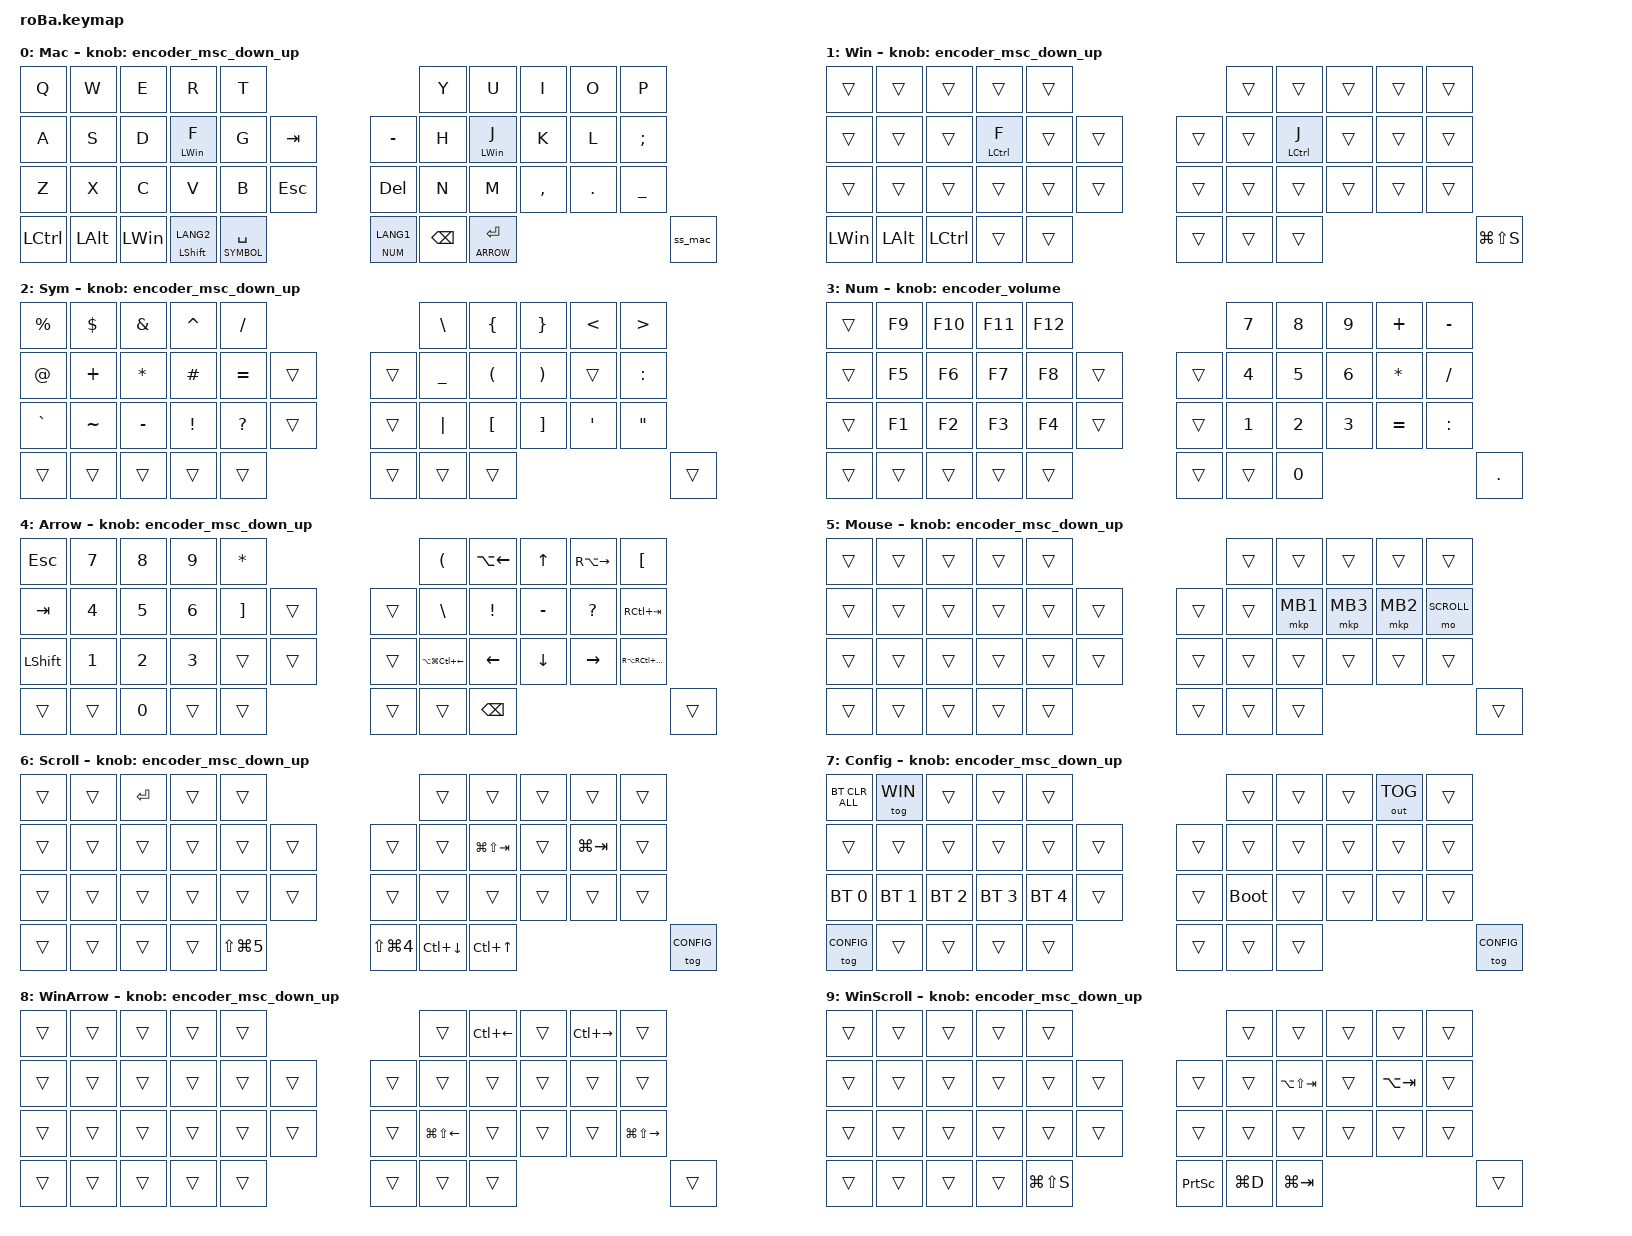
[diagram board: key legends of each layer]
#include <behaviors.dtsi>
#include <dt-bindings/zmk/bt.h>
#include <dt-bindings/zmk/keys.h>
#include <dt-bindings/zmk/outputs.h>
#include <dt-bindings/zmk/pointing.h>
#include <input/processors.dtsi>

#define ZMK_POINTING_DEFAULT_SCRL_VAL 80

/* レイヤー番号（keymap 内の並び順と一致させること） */
#define BASE       0
#define WIN        1   /* Windows 用の差し替え層（CONFIG の W でトグル）。SYMBOL/NUM/ARROW より下に置く（F/J 位置の記号・数字を食わないため） */
#define SYMBOL     2
#define NUM        3
#define ARROW      4
#define MOUSE      5   /* ボールを動かすと自動で入る（AML）。WIN より上（J のクリックが Ctrl/J に負けないため） */
#define SCROLL     6
#define CONFIG     7
#define WIN_ARROW  8   /* WIN + ARROW のとき自動で重なる（conditional layer） */
#define WIN_SCROLL 9   /* WIN + SCROLL のとき自動で重なる */

&mt {
    flavor = "balanced";
    quick-tap-ms = <300>;
};

&lt {
    flavor = "balanced";
    quick-tap-ms = <300>;
};

/* ボールを動かすと MOUSE 層へ（クリックするまで留まる）。roBa_R.overlay は層番号 4 を直書きしており
 * v5 では 4 = ARROW になるため、ここで定義名 MOUSE に上書きする（2026-10-27） */
&trackball_listener {
    input-processors = <&zip_temp_layer MOUSE 100000>;
};

/* ボールをスクロールに切り替える層。roBa_R.overlay は scroll-layers = <5> と直書きしており
 * v5 では 5 = MOUSE になる（ボールを動かすとスクロールしてしまう）ため、定義名 SCROLL に上書きする（2026-10-27） */
&trackball {
    scroll-layers = <SCROLL>;
};

/* クリック後250msでAML解除（マウスキーを押すまでレイヤーに留まる挙動） */
&mkp_input_listener {
    input-processors = <&zip_temp_layer MOUSE 250>;
};

/ {
    combos {
        compatible = "zmk,combos";
    };

    /* WIN 層が有効なときだけ、OS で送るキーが変わる層を重ねる */
    conditional_layers {
        compatible = "zmk,conditional-layers";

        win_arrow {
            if-layers = <ARROW WIN>;
            then-layer = <WIN_ARROW>;
        };

        win_scroll {
            if-layers = <SCROLL WIN>;
            then-layer = <WIN_SCROLL>;
        };
    };

    behaviors {
        /* エンコーダ: 既定は縦スクロール（時計回り=下） */
        encoder_msc_down_up: encoder_msc_down_up {
            compatible = "zmk,behavior-sensor-rotate";
            label = "ENCODER_MSC_DOWN_UP";
            #sensor-binding-cells = <0>;
            bindings = <&msc SCRL_DOWN>, <&msc SCRL_UP>;
            tap-ms = <20>;
        };

        /* エンコーダ: NUM 層では音量（時計回り=上げる） */
        encoder_volume: encoder_volume {
            compatible = "zmk,behavior-sensor-rotate";
            label = "ENCODER_VOLUME";
            #sensor-binding-cells = <0>;
            bindings = <&kp C_VOL_UP>, <&kp C_VOL_DN>;
        };

        /* レイヤーをオフにするbehavior */
        tog_off: toggle_layer_off {
            compatible = "zmk,behavior-toggle-layer";
            #binding-cells = <1>;
            display-name = "Toggle Layer Off";
            toggle-mode = "off";
        };

        /* タップ時のみAML解除するmt（Shift/Winなどのモディファイア用） */
        mt_exit_AML_on_tap: mt_exit_AML_on_tap {
            compatible = "zmk,behavior-hold-tap";
            label = "MT_EXIT_AML_ON_TAP";
            bindings = <&kp>, <&kp_exit_AML>;
            #binding-cells = <2>;
            tapping-term-ms = <200>;
            flavor = "balanced";
            quick-tap-ms = <300>;
        };

        /* タップ時のみAML解除するlt（Space/LANG1などのレイヤータップ用） */
        lt_exit_AML_on_tap: lt_exit_AML_on_tap {
            compatible = "zmk,behavior-hold-tap";
            label = "LT_EXIT_AML_ON_TAP";
            bindings = <&mo>, <&kp_exit_AML>;
            #binding-cells = <2>;
            tapping-term-ms = <300>;
            flavor = "balanced";
            quick-tap-ms = <300>;
        };
    };

    macros {
        /* タップ時にAMLを解除するマクロ */
        exit_AML: exit_AML {
            compatible = "zmk,behavior-macro";
            wait-ms = <0>;
            tap-ms = <0>;
            #binding-cells = <0>;
            bindings = <&tog_off MOUSE>;
            label = "EXIT_AML";
        };

        kp_exit_AML: kp_exit_AML {
            compatible = "zmk,behavior-macro-one-param";
            wait-ms = <0>;
            tap-ms = <0>;
            #binding-cells = <1>;
            bindings = <&macro_param_1to1 &kp MACRO_PLACEHOLDER &exit_AML>;
            label = "KP_EXIT_AML";
        };

        /* Mac のスクリーンショット（Cmd+Shift+5） */
        ss_mac: ss_mac {
            compatible = "zmk,behavior-macro";
            #binding-cells = <0>;
            bindings
                = <&macro_press &kp LGUI &kp LSHFT>
                , <&macro_tap &kp N5>
                , <&macro_release &kp LGUI &kp LSHFT>;
            label = "SS_MAC";
        };
    };

    /*
     * 物理配置（43キー）
     *   1段目: 左5 ／ 右5
     *   2段目: 左5＋内側1 ／ 内側1＋右5
     *   3段目: 左5＋内側1 ／ 内側1＋右5
     *   4段目: 左親指6（Ctrl Alt Win Shift Space かな）／ 右親指2（BS Enter）／ 右端1
     */
    keymap {
        compatible = "zmk,keymap";

        /* 0: Mac 用の文字層。内側4キーは Tab・Esc・-・Del */
        default_layer {
            display-name = "Mac";
            bindings = <
&kp Q      &kp W         &kp E         &kp R                                 &kp T                                                                              &kp Y          &kp U                           &kp I      &kp O     &kp P
&kp A      &kp S         &kp D         &mt_exit_AML_on_tap LEFT_WIN F        &kp G  &kp TAB                       &kp MINUS                                   &kp H          &mt_exit_AML_on_tap LEFT_WIN J  &kp K      &kp L     &kp SEMI
&kp Z      &kp X         &kp C         &kp V                                 &kp B  &kp ESC                       &kp DEL                                     &kp N          &kp M                           &kp COMMA  &kp DOT   &kp UNDER   
&kp LCTRL  &kp LEFT_ALT  &kp LEFT_WIN  &mt_exit_AML_on_tap LEFT_SHIFT LANG2  &lt_exit_AML_on_tap SYMBOL SPACE  &lt_exit_AML_on_tap NUM LANG1      &kp BACKSPACE  &lt ARROW ENTER                                                            &ss_mac
            >;

            sensor-bindings = <&encoder_msc_down_up>;
        };

        /* 1: Windows 用の差し替え（CONFIG の W でトグル・SYMBOL/NUM/ARROW より下）。ホームロウ F/J = Ctrl、親指列 Win/Alt/Ctrl、右端 = Win+Shift+S */
        win_layer {
            display-name = "Win";
            bindings = <
&trans        &trans        &trans     &trans                                &trans                                                   &trans  &trans                        &trans  &trans  &trans
&trans        &trans        &trans     &mt_exit_AML_on_tap LCTRL F           &trans  &trans                  &trans                   &trans  &mt_exit_AML_on_tap LCTRL J   &trans  &trans  &trans
&trans        &trans        &trans     &trans                                &trans  &trans                  &trans                   &trans  &trans                        &trans  &trans  &trans
&kp LEFT_WIN  &kp LEFT_ALT  &kp LCTRL  &trans                                &trans  &trans                  &trans                   &trans                                                &kp LG(LS(S))
            >;

            sensor-bindings = <&encoder_msc_down_up>;
        };

        /* 2: 記号（Space ホールド）。矢印は ARROW 層へ移し、空いた左手に & + * # を置いた */
        symbol_layer {
            display-name = "Sym";
            bindings = <
&kp PRCNT  &kp DLLR   &kp AMPS   &kp CARET  &kp FSLH                                 &kp BSLH   &kp LBRC  &kp RBRC  &kp LT    &kp GT
&kp AT     &kp PLUS   &kp STAR   &kp HASH   &kp EQUAL  &trans      &trans            &kp UNDER  &kp LPAR  &kp RPAR  &trans    &kp COLON
&kp GRAVE  &kp TILDE  &kp MINUS  &kp EXCL   &kp QMARK  &trans      &trans            &kp PIPE   &kp LBKT  &kp RBKT  &kp SQT   &kp DQT
&trans     &trans     &trans     &trans     &trans     &trans      &trans            &trans                                   &trans
            >;

            sensor-bindings = <&encoder_msc_down_up>;
        };

        /* 3: 右手テンキー＋演算子、左手 F1〜F12（かな ホールド）。エンコーダは音量 */
        num_layer {
            display-name = "Num";
            bindings = <
&trans  &kp F9  &kp F10  &kp F11  &kp F12                              &kp N7  &kp N8  &kp N9  &kp PLUS   &kp MINUS
&trans  &kp F5  &kp F6   &kp F7   &kp F8   &trans      &trans          &kp N4  &kp N5  &kp N6  &kp STAR   &kp SLASH
&trans  &kp F1  &kp F2   &kp F3   &kp F4   &trans      &trans          &kp N1  &kp N2  &kp N3  &kp EQUAL  &kp COLON
&trans  &trans  &trans   &trans   &trans   &trans      &trans          &kp N0                             &kp DOT
            >;

            sensor-bindings = <&encoder_volume>;
        };

        /* 4: 矢印・テンキー（Enter ホールド）。V3 と同じ。2026-10-27 に3段目 K を ↑→↓ に変更（本人指示） */
        arrow_layer {
            display-name = "Arrow";
            bindings = <
&kp ESC        &kp N7  &kp N8   &kp N9   &kp STAR                              &kp LPAR                  &kp LA(LEFT)  &kp UP    &kp RA(RIGHT)           &kp LBKT
&kp TAB        &kp N4  &kp N5   &kp N6   &kp RBKT   &trans  &trans             &kp BSLH                  &kp EXCL      &kp MINUS &kp QMARK               &kp RC(TAB)
&kp LEFT_SHIFT &kp N1  &kp N2   &kp N3   &trans     &trans  &trans             &kp LA(LG(LC(LEFT)))      &kp LEFT      &kp DOWN  &kp RIGHT               &kp RA(RC(RG(RIGHT)))
&trans         &trans  &kp N0   &trans   &trans     &trans  &trans             &kp BACKSPACE                                                             &trans
            >;

            sensor-bindings = <&encoder_msc_down_up>;
        };


        /* 5: マウス（ボールで自動）。J/K/L = 左/中/右クリック、; ホールドで SCROLL */
        mouse_layer {
            display-name = "Mouse";
            bindings = <
&trans  &trans  &trans  &trans  &trans                      &trans  &trans    &trans    &trans    &trans
&trans  &trans  &trans  &trans  &trans  &trans  &trans      &trans  &mkp MB1  &mkp MB3  &mkp MB2  &mo SCROLL
&trans  &trans  &trans  &trans  &trans  &trans  &trans      &trans  &trans    &trans    &trans    &trans
&trans  &trans  &trans  &trans  &trans  &trans  &trans      &trans                                &trans
            >;

            sensor-bindings = <&encoder_msc_down_up>;
        };

        /* 6: スクロール（MOUSE で ; ホールド）。J/L = アプリ切替、親指 = スクショ・Mission Control、右端 = CONFIG トグル */
        scroll_layer {
            display-name = "Scroll";
            bindings = <
&trans  &trans  &kp ENTER  &trans  &trans                                     &trans            &trans           &trans   &trans       &trans
&trans  &trans  &trans     &trans  &trans     &trans  &trans                  &trans            &kp LG(LS(TAB))  &trans   &kp LG(TAB)  &trans
&trans  &trans  &trans     &trans  &trans     &trans  &trans                  &trans            &trans           &trans   &trans       &trans
&trans  &trans  &trans     &trans  &kp LS(LG(N5))  &kp LS(LG(N4))      &kp LC(DOWN)  &kp LC(UP_ARROW)                                  &tog CONFIG
            >;

            sensor-bindings = <&encoder_msc_down_up>;
        };

        /* 7: 設定（SCROLL の右端キーでトグル。左下 Ctrl 位置か右端でもう一度押して抜ける）
         *    W = Windows 層トグル、O = USB/BLE 出力切替、Z〜B = BT 接続先 0〜4、N = ブートローダー */
        config_layer {
            display-name = "Config";
            bindings = <
&bt BT_CLR_ALL  &tog WIN      &trans        &trans        &trans                                &trans       &trans  &trans  &out OUT_TOG  &trans
&trans          &trans        &trans        &trans        &trans        &trans  &trans          &trans       &trans  &trans  &trans        &trans
&bt BT_SEL 0    &bt BT_SEL 1  &bt BT_SEL 2  &bt BT_SEL 3  &bt BT_SEL 4  &trans  &trans          &bootloader  &trans  &trans  &trans        &trans
&tog CONFIG     &trans        &trans        &trans        &trans        &trans  &trans          &trans                                     &tog CONFIG
            >;

            sensor-bindings = <&encoder_msc_down_up>;
        };

        /* 8: WIN + ARROW で自動。単語移動 Ctrl+←→（U/O）、画面移動 Win+Shift+←→（N/_） */
        win_arrow_layer {
            display-name = "WinArrow";
            bindings = <
&trans  &trans  &trans  &trans  &trans                              &trans            &kp LC(LEFT)  &trans  &kp LC(RIGHT)  &trans
&trans  &trans  &trans  &trans  &trans  &trans      &trans          &trans            &trans        &trans  &trans         &trans
&trans  &trans  &trans  &trans  &trans  &trans      &trans          &kp LG(LS(LEFT))  &trans        &trans  &trans         &kp LG(LS(RIGHT))
&trans  &trans  &trans  &trans  &trans  &trans      &trans          &trans                                                 &trans
            >;

            sensor-bindings = <&encoder_msc_down_up>;
        };

        /* 9: WIN + SCROLL で自動。アプリ切替 Alt+Tab、スクショ Win+Shift+S / PrintScreen、Win+D / Win+Tab */
        win_scroll_layer {
            display-name = "WinScroll";
            bindings = <
&trans  &trans  &trans  &trans  &trans                                     &trans      &trans               &trans  &trans        &trans
&trans  &trans  &trans  &trans  &trans         &trans        &trans        &trans      &kp LA(LS(TAB))      &trans  &kp LA(TAB)   &trans
&trans  &trans  &trans  &trans  &trans         &trans        &trans        &trans      &trans               &trans  &trans        &trans
&trans  &trans  &trans  &trans  &kp LG(LS(S))  &kp PSCRN                   &kp LG(D)   &kp LG(TAB)                                &trans
            >;

            sensor-bindings = <&encoder_msc_down_up>;
        };
    };
};
